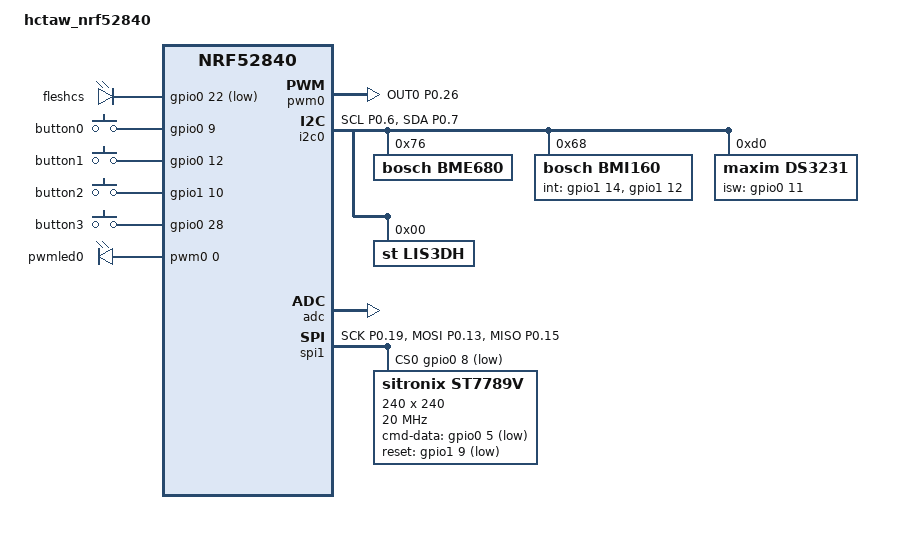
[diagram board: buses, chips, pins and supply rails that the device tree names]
// Copyright (c) 2023 Nordic Semiconductor ASA
// SPDX-License-Identifier: Apache-2.0

/dts-v1/;
#include <nordic/nrf52840_qiaa.dtsi>

/ {
	model = "hctaw_nrf52840";
	compatible = "na,hctaw-nrf52840";

	chosen {
		zephyr,sram = &sram0;
		zephyr,flash = &flash0;
		zephyr,code-partition = &slot0_partition;
		zephyr,display = &st7789v;
	};

	// zephyr,user {
	// 	signal-gpios = <&gpio0 22 (GPIO_PULLUP | GPIO_ACTIVE_LOW)>;
	// };

	misc_pins {
		compatible = "gpio-leds";
		fleshcs: flesh_cs {
			gpios = <&gpio0 22 (GPIO_PULL_UP | GPIO_ACTIVE_LOW)>;
		};
	};

	buttons {
		compatible = "gpio-keys";
		button0: button_0 { 
			gpios = <&gpio0 9 0>;
		};

		button1: button_1 {
			gpios = <&gpio0 12 0>;
		};

		button2: button_2 {
			gpios = <&gpio1 10 0>;
		};

		button3: button_3 {
			gpios = <&gpio0 28 0>;
		};
	};

	pwm_pins {
		compatible = "pwm-leds";

		pwmled0: pwmled_0 {
			pwms = < &pwm0 0 PWM_HZ(100) 0 >;
		};
	};

	aliases {
		btn0 = &button0;
		btn1 = &button1;
		btn2 = &button2;
		btn3 = &button3;
		tftled = &pwmled0;
		fleshcs = &fleshcs;
	};
};

&gpio0 {
	status = "okay";
};

&gpio1 {
	status = "okay";
};


&flash0 {
	partitions {
		compatible = "fixed-partitions";
		#address-cells = <1>;
		#size-cells = <1>;

		boot_partition: partition@0 {
			label = "mcuboot";
			reg = <0x0 0xc000>;
		};
		slot0_partition: partition@c000 {
			label = "image-0";
			reg = <0xc000 0x00067000>;
		};
		slot1_partition: partition@73000 {
			label = "image-1";
			reg = <0x73000 0x00067000>;
		};
		scratch_partition: partition@da000 {
			label = "image-scratch";
			reg = <0xda000 0x0001e000>;
		};
		storage_partition: partition@f8000 {
			label = "storage";
			reg = <0xf8000 0x00008000>;
		};
	};
};


&pwm0 {
	status = "okay";
	pinctrl-0 = <&pwm0_default>;
    pinctrl-names = "default";
};

&i2c0 {
	compatible = "nordic,nrf-twim";
	status = "okay";
	pinctrl-0 = <&i2c0_default>;
	pinctrl-names = "default";
	bme680@76 {
		compatible = "bosch,bme680";
		reg = <0x76>;
	};

	bmi160@68 {
		compatible = "bosch,bmi160";
		reg = <0x68>;
		int-gpios = <&gpio1 14 0>, <&gpio1 12 0>;
	};

	ds3231@d0 {
		compatible = "maxim,ds3231";
		reg = <0xD0>;
		isw-gpios = <&gpio0 11 0>;
	};

	lis3dh@0 {
		compatible = "st,lis3dh";
		reg = <0x0 >;
	};

	
};

&adc {
	status = "okay";
};

&spi1 {
	compatible = "nordic,nrf-spim";
	status = "okay";
	pinctrl-0 = <&spi1_default>;
	pinctrl-1 = <&spi1_sleep>;
	pinctrl-names = "default", "sleep";
	cs-gpios = <&gpio0 8 GPIO_ACTIVE_LOW>;

	st7789v: st7789v@0 {
        compatible = "sitronix,st7789v";
		spi-max-frequency = <20000000>;
		reg = <0>;
		cmd-data-gpios = <&gpio0 5 GPIO_ACTIVE_LOW>;	// A1
		reset-gpios = <&gpio1 9 (GPIO_ACTIVE_LOW)>;		// A0
		width = <240>;
		height = <240>;
		x-offset = <0>;
		y-offset = <0>;
		vcom = <0x19>;
		gctrl = <0x35>;
		vrhs = <0x12>;
		vdvs = <0x20>;
		mdac = <0x00>;
		gamma = <0x01>;
		colmod = <0x65>;
		lcm = <0x2c>;
		porch-param = [0c 0c 00 33 33];
		cmd2en-param = [5a 69 02 01];
		pwctrl1-param = [a4 a1];
		pvgam-param = [D0 04 0D 11 13 2B 3F 54 4C 18 0D 0B 1F 23];
		nvgam-param = [D0 04 0C 11 13 2C 3F 44 51 2F 1F 1F 20 23];
		ram-param = [00 F0];
		rgb-param = [CD 08 14];
    };
};


&pinctrl {

	pwm0_default: pwm0_default {
		group1 {
			psels = <NRF_PSEL(PWM_OUT0, 0, 26) >;
		};
	};

	i2c0_default: i2c0_default {
		group1 {
			psels = <NRF_PSEL(TWIM_SCL, 0, 6)>, <NRF_PSEL(TWIM_SDA, 0, 7)>;
		};
	};

	spi1_default: spi1_default {
		group1 {
			psels = <NRF_PSEL(SPIM_SCK, 0, 19)>,
		   <NRF_PSEL(SPIM_MOSI, 0, 13)>,
		   <NRF_PSEL(SPIM_MISO, 0, 15)>;
		};
	};

	spi1_sleep: spi1_sleep {
		group1 {
			psels = <NRF_PSEL(SPIM_SCK, 0, 19)>,
				<NRF_PSEL(SPIM_MOSI, 0, 13)>,
				<NRF_PSEL(SPIM_MISO, 0, 15)>;
			low-power-enable;
		};
	};
};

